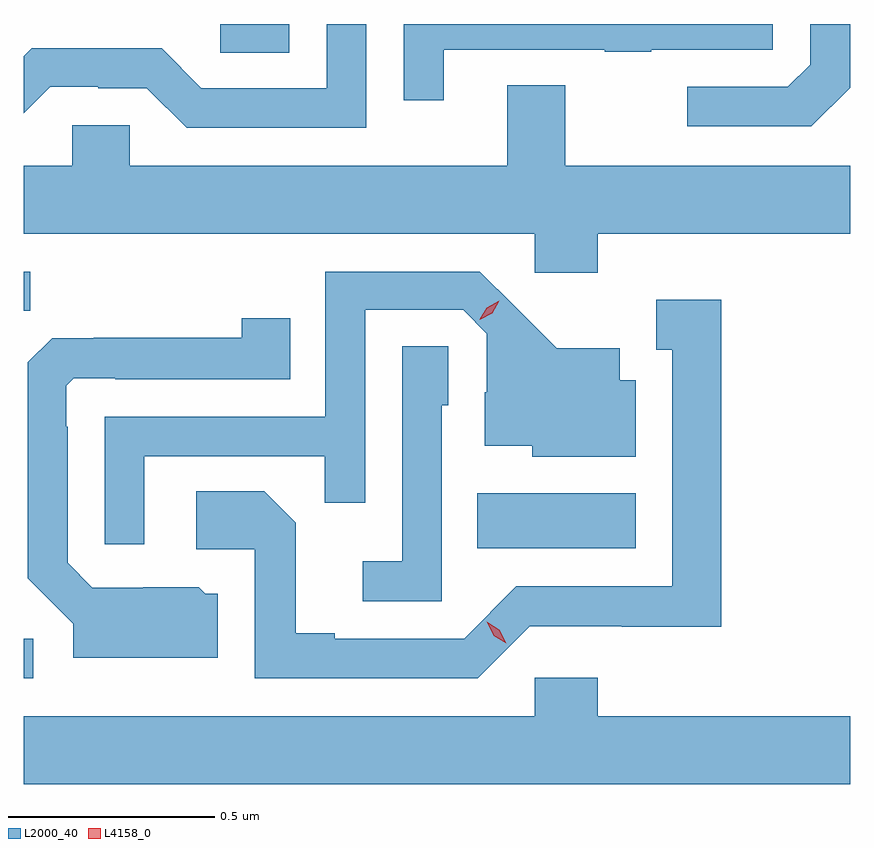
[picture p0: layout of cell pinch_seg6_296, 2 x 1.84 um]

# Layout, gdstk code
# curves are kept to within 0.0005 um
import gdstk
lib = gdstk.Library(unit=1e-6, precision=1e-09)
def R(c, l, rs):  # rectangles x0, y0, x1, y1
    for r in rs: c.add(gdstk.rectangle(r[:2], r[2:], *l))
def P(c, l, *ps):  # polygons
    for p in ps: c.add(gdstk.Polygon(p, *l))
L2000_40 = (2000, 40)
L4158_0 = (4158, 0)

pinch_seg6_296 = lib.new_cell('pinch_seg6_296')
R(pinch_seg6_296, L2000_40, [(863.543,995.544,863.566,995.64), (864.64,995.858,865.024,995.992), (863.543,996.433,863.559,996.528), (864.018,997.057,864.186,997.127)])
P(pinch_seg6_296, L2000_40, [(864.372,997.127),(864.276,997.127),(864.276,996.972),(863.973,996.972),(863.877,997.068),(863.562,997.068),(863.543,997.049),(863.543,996.911),(863.607,996.975),(863.723,996.975),(863.723,996.972),(863.841,996.972),(863.937,996.876),(864.372,996.876)],
  [(864.559,997.065),(864.949,997.065),(864.949,997.06),(865.061,997.06),(865.061,997.065),(865.356,997.065),(865.356,997.127),(864.463,997.127),(864.463,996.942),(864.559,996.942)],
  [(865.543,996.973),(865.543,997.127),(865.446,997.127),(865.446,997.029),(865.392,996.975),(865.149,996.975),(865.149,996.879),(865.449,996.879)],
  [(864.932,996.62),(865.543,996.62),(865.543,996.784),(864.853,996.784),(864.853,996.979),(864.713,996.979),(864.713,996.784),(863.799,996.784),(863.799,996.882),(863.661,996.882),(863.661,996.784),(863.543,996.784),(863.543,996.62),(864.78,996.62),(864.78,996.525),(864.932,996.525)],
  [(863.835,996.081),(864.271,996.081),(864.271,995.968),(864.369,995.968),(864.369,996.435),(864.606,996.435),(864.663,996.378),(864.663,996.236),(864.659,996.236),(864.659,996.107),(864.774,996.107),(864.774,996.08),(865.024,996.08),(865.024,996.265),(864.985,996.265),(864.985,996.343),(864.833,996.343),(864.646,996.528),(864.273,996.528),(864.273,996.177),(863.739,996.177),(863.739,995.868),(863.835,995.868)],
  [(864.768,995.67),(864.99,995.67),(864.99,995.669),(865.231,995.669),(865.231,996.46),(865.073,996.46),(865.073,996.339),(865.112,996.339),(865.112,995.766),(864.735,995.766),(864.609,995.64),(864.295,995.64),(864.295,995.653),(864.201,995.653),(864.201,995.92),(864.125,995.996),(863.961,995.996),(863.961,995.856),(864.102,995.856),(864.102,995.544),(864.642,995.544)],
  [(864.013,995.748),(863.982,995.748),(863.966,995.764),(863.832,995.764),(863.832,995.763),(863.709,995.763),(863.649,995.823),(863.649,996.152),(863.646,996.152),(863.646,996.252),(863.664,996.27),(863.764,996.27),(863.764,996.267),(864.188,996.267),(864.188,996.415),(864.07,996.415),(864.07,996.368),(863.713,996.368),(863.713,996.367),(863.612,996.367),(863.553,996.308),(863.553,995.786),(863.663,995.676),(863.663,995.594),(864.013,995.594)],
  [(864.555,996.204),(864.57,996.204),(864.57,996.347),(864.459,996.347),(864.459,995.827),(864.363,995.827),(864.363,995.73),(864.555,995.73)],
  [(865.543,995.452),(864.932,995.452),(864.932,995.545),(864.78,995.545),(864.78,995.452),(863.543,995.452),(863.543,995.288),(865.543,995.288)])
P(pinch_seg6_296, L4158_0, [(864.711,995.628),(864.68,995.647),(864.663,995.68),(864.663,995.68),(864.663,995.68),(864.694,995.661),(864.711,995.628),(864.711,995.628)],
  [(864.646,996.411),(864.646,996.412),(864.663,996.441),(864.694,996.457),(864.694,996.457),(864.694,996.457),(864.677,996.427),(864.646,996.411)])

lib.write_gds('pinch_seg6_296.gds')
